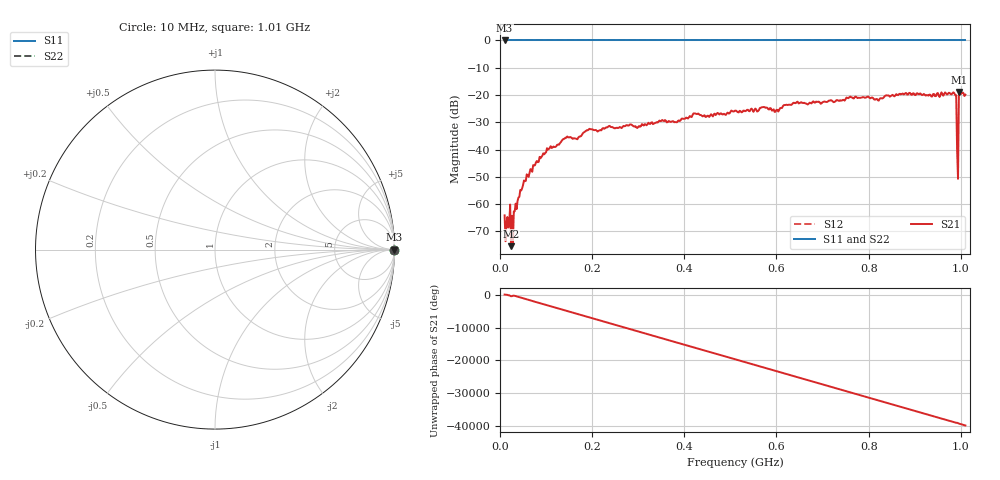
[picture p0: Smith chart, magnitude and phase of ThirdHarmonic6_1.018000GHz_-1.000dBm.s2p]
! 8/16/2025 8:29:59 AM
! C:\ANRITSUVNA\TEMP\TEMP.S2P
! CHANNEL.1
! TR.MEASUREMENT
! RAW.DATA
! RF.CORRECTION.OFF
! AVERAGING.OFF
! IF.BANDWIDTH: 5KHZ
! SWEEPTYPE:  FREQ.SWEEP(Linear)
! Reference Plane Port Info
! PORT:  PORT1  PORT2
! DISTANCE:  0  m  0  m
! TIME:  0  s  0  s
! PHASE.OFFSET:  0  deg.  0  deg.
! LOSS:  0  dB  0  dB
! REF.LOSS:  0  dB  0  dB
! REF.FREQ:  0  Hz  0  Hz
! Power Info
! POWER:  -20  dBm  -20  dBm
! EFF.POWER:  -20  dBm  -20  dBm
! SOURCE.ATTEN:  0  dB  0  dB
! TEST.ATTEN:  0  dB  0  dB
# GHZ S RI R 50.0
! FREQ.GHZ  S11RE  S11IM  S21RE  S21IM  S12RE  S12IM  S22RE  S22IM
!; PortSelection: Port_12
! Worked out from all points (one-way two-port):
!   501 points, 10 MHz to 1.01 GHz, reference 50 ohm
!   highest |S21| = -18.89 dB at 996 MHz (marker M1); lowest = -75.4 dB at 24 MHz (marker M2)
!   lowest |S11| = 0.0 dB at 10 MHz (marker M3)
!   |S11| at or under -10 dB: nowhere
!   |S22| runs from 0.0 to 0.0 dB; largest |S21 - S12| = 1.1
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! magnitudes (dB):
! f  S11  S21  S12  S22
! 10 MHz  0.0  -64.1  0.0  0.0
! 16 MHz  0.0  -64.7  0.0  0.0
! 18 MHz  0.0  -68.6  0.0  0.0
! 24 MHz  0.0  -75.4  0.0  0.0
! 28 MHz  0.0  -74.7  0.0  0.0
! 34 MHz  0.0  -59.8  0.0  0.0
! 48 MHz  0.0  -54.2  0.0  0.0
! 76 MHz  0.0  -45.7  0.0  0.0
! 106 MHz  0.0  -39.8  0.0  0.0
! 178 MHz  0.0  -34.6  0.0  0.0
! 196 MHz  0.0  -32.5  0.0  0.0
! 344 MHz  0.0  -29.8  0.0  0.0
! 510 MHz  0.0  -25.8  0.0  0.0
! 600 MHz  0.0  -25.4  0.0  0.0
! 642 MHz  0.0  -23.0  0.0  0.0
! 678 MHz  0.0  -22.6  0.0  0.0
! 844 MHz  0.0  -20.2  0.0  0.0
! 986 MHz  0.0  -19.3  0.0  0.0
! 990 MHz  0.0  -20.1  0.0  0.0
! 996 MHz  0.0  -18.9  0.0  0.0
! 1 GHz  0.0  -19.7  0.0  0.0
! 1.01 GHz  0.0  -19.9  0.0  0.0
